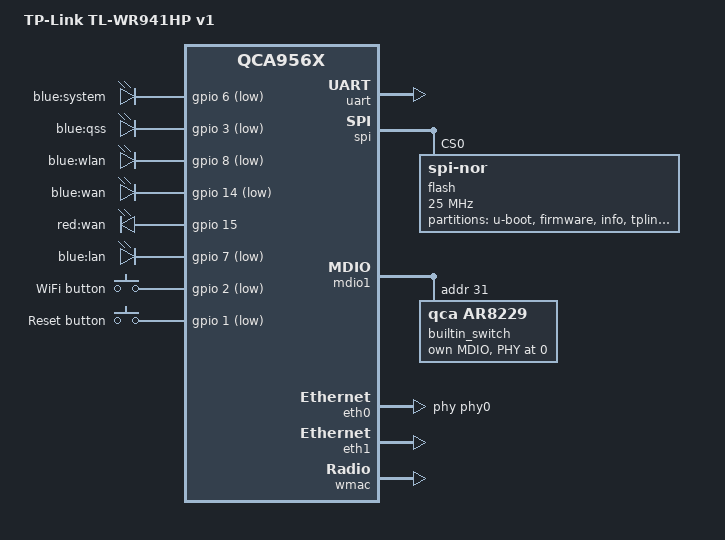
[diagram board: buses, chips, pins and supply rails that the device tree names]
// SPDX-License-Identifier: GPL-2.0-or-later OR MIT

#include "qca956x.dtsi"

#include <dt-bindings/gpio/gpio.h>
#include <dt-bindings/input/input.h>

/ {
	//mod
	compatible = "tplink,tl-wr941hp-v1", "qca,tp9343";
	model = "TP-Link TL-WR941HP v1";

	//mod2
	aliases{
		label-mac-device = &wmac;
		led-boot = &led_system;
		led-failsafe = &led_system;
		led-running = &led_system;
		led-upgrade = &led_system;
	};
	leds {
		compatible = "gpio-leds";

		led_system: system {
			label = "blue:system";
			gpios = <&gpio 6 GPIO_ACTIVE_LOW>;
			default-state = "on";
		};

		qss {
			label = "blue:qss";
			gpios = <&gpio 3 GPIO_ACTIVE_LOW>;
		};

		wlan {
			label = "blue:wlan";
			gpios = <&gpio 8 GPIO_ACTIVE_LOW>;
			linux,default-trigger = "phy0tpt";
		};

		wan_blue {
			label = "blue:wan";
			gpios = <&gpio 14 GPIO_ACTIVE_LOW>;
		};

		wan_red {
			label = "red:wan";
			gpios = <&gpio 15 GPIO_ACTIVE_HIGH>;
		};

		lan {
			label = "blue:lan";
			gpios = <&gpio 7 GPIO_ACTIVE_LOW>;
		};

	};

	keys {
		compatible = "gpio-keys";

		wifi {
			label = "WiFi button";
			linux,code = <KEY_RFKILL>;
			gpios = <&gpio 2 GPIO_ACTIVE_LOW>;
		};

		reset {
			label = "Reset button";
			linux,code = <KEY_RESTART>;
			gpios = <&gpio 1 GPIO_ACTIVE_LOW>;
		};
	};

};
//ok
&uart {
	status = "okay";
};
//mod
&spi {
	status = "okay";

	flash@0 {
		compatible = "jedec,spi-nor";
		reg = <0>;
		spi-max-frequency = <25000000>;

		partitions {
			compatible = "fixed-partitions";
			#address-cells = <1>;
			#size-cells = <1>;

			uboot: partition@0 {
				label = "u-boot";
				reg = <0x000000 0x020000>;
				read-only;
			};

			partition@20000 {
				compatible = "tplink,firmware";
				label = "firmware";
				reg = <0x020000 0x730000>;
			};

			info: partition@750000 {
				label = "info";
				reg = <0x750000 0x010000>;
				read-only;
			};

			partition@760000 {
				label = "tplink";
				reg = <0x760000 0x090000>;
				read-only;
			};

			art: partition@7f0000 {
				label = "art";
				reg = <0x7f0000 0x010000>;
				read-only;
			};
		};
	};
};

&mdio1 {
	status = "okay";
	resets = <&rst 23>;
	reset-names = "mdio";
	builtin-switch;

	builtin_switch: switch0@1f {
		compatible = "qca,ar8229";
		reg = <0x1f>;
		resets = <&rst 8>;
		reset-names = "switch";
		phy-mode = "gmii";
		//remove this line is important
		//qca,phy4-mii-enable;
		qca,mib-poll-interval = <500>;

		mdio-bus {
			#address-cells = <1>;
			#size-cells = <0>;

			phy0: ethernet-phy@0 {
				reg = <0>;
				phy-mode = "mii";
			};

		};
	};
};
&uart {
	status = "okay";
};

&eth0 {
	status = "okay";

	phy-handle = <&phy0>;

	mtd-mac-address = <&info 0x8>;
	mtd-mac-address-increment = <1>;
};

&eth1 {
	status = "okay";
	mtd-mac-address = <&info 0x8>;
	mtd-mac-address-increment = <2>;
};

&wmac {
	status = "okay";

	mtd-cal-data = <&art 0x1000>;
	mtd-mac-address = <&info 0x8>;
};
